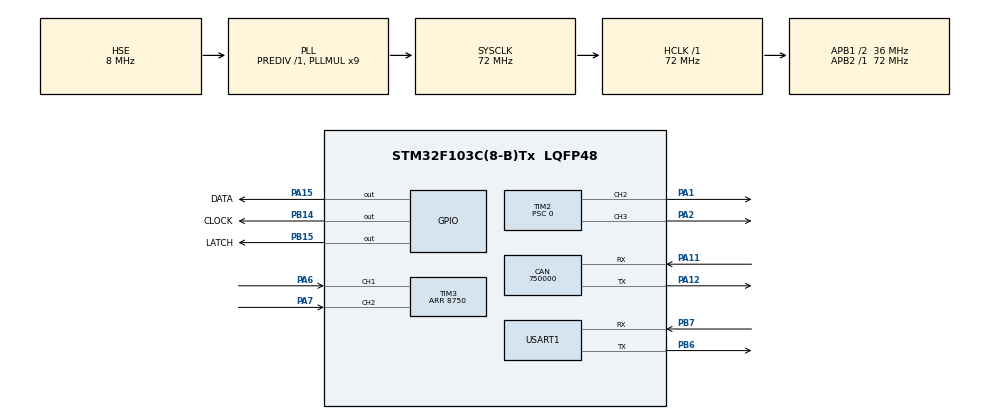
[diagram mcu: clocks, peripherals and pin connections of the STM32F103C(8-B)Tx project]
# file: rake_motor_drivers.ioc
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CAN.CalculateBaudRate=750000
CAN.CalculateTimeBit=1333.33
CAN.CalculateTimeQuantum=444.44444444444446
Mcu.Family=STM32F1
Mcu.Name=STM32F103C(8-B)Tx
Mcu.Package=LQFP48
NVIC.PriorityGroup=NVIC_PRIORITYGROUP_3
NVIC.TIM3_IRQn=true\:0\:0\:true\:false\:true\:true\:true
NVIC.USART1_IRQn=true\:0\:0\:true\:false\:true\:true\:true
PA1.Signal=S_TIM2_CH2
PA11.Mode=CAN_Activate
PA11.Signal=CAN_RX
PA12.Mode=CAN_Activate
PA12.Signal=CAN_TX
PA13.Mode=Serial_Wire
PA13.Signal=SYS_JTMS-SWDIO
PA14.Mode=Serial_Wire
PA14.Signal=SYS_JTCK-SWCLK
PA15.GPIO_Label=DATA
PA15.Signal=GPIO_Output
PA2.Signal=S_TIM2_CH3
PA6.Signal=S_TIM3_CH1
PA7.Signal=S_TIM3_CH2
PB14.GPIO_Label=CLOCK
PB14.Signal=GPIO_Output
PB15.GPIO_Label=LATCH
PB15.Signal=GPIO_Output
PB6.Mode=Asynchronous
PB6.Signal=USART1_TX
PB7.Mode=Asynchronous
PB7.Signal=USART1_RX
PD0-OSC_IN.Mode=HSE-External-Oscillator
PD0-OSC_IN.Signal=RCC_OSC_IN
PD1-OSC_OUT.Mode=HSE-External-Oscillator
PD1-OSC_OUT.Signal=RCC_OSC_OUT
ProjectManager.HeapSize=0x200
ProjectManager.StackSize=0x400
ProjectManager.TargetToolchain=MDK-ARM V5
RCC.AHBFreq_Value=72000000
RCC.APB1CLKDivider=RCC_HCLK_DIV2
RCC.APB1Freq_Value=36000000
RCC.APB1TimFreq_Value=72000000
RCC.APB2Freq_Value=72000000
RCC.APB2TimFreq_Value=72000000
RCC.HCLKFreq_Value=72000000
RCC.PLLMUL=RCC_PLL_MUL9
RCC.PLLSourceVirtual=RCC_PLLSOURCE_HSE
RCC.SYSCLKFreq_VALUE=72000000
RCC.SYSCLKSource=RCC_SYSCLKSOURCE_PLLCLK
RCC.USBFreq_Value=72000000
SH.S_TIM2_CH2.0=TIM2_CH2,PWM Generation2 CH2
SH.S_TIM2_CH3.0=TIM2_CH3,PWM Generation3 CH3
SH.S_TIM3_CH1.0=TIM3_CH1,Encoder_Interface
SH.S_TIM3_CH2.0=TIM3_CH2,Encoder_Interface
TIM2.Channel-PWM\ Generation2\ CH2=TIM_CHANNEL_2
TIM2.Channel-PWM\ Generation3\ CH3=TIM_CHANNEL_3
TIM2.Period=65535
TIM2.Prescaler=0
TIM3.AutoReloadPreload=TIM_AUTORELOAD_PRELOAD_ENABLE
TIM3.EncoderMode=TIM_ENCODERMODE_TI12
TIM3.IC1Filter=0
TIM3.IC1Prescaler=TIM_ICPSC_DIV1
TIM3.IC2Filter=0
TIM3.IC2Prescaler=TIM_ICPSC_DIV1
TIM3.Period=8750
USART1.VirtualMode=VM_ASYNC
board=custom

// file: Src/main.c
/* USER CODE BEGIN Header */
/**
  ******************************************************************************
  * @file           : main.c
  * @brief          : Main program body
  ******************************************************************************
  ** This notice applies to any and all portions of this file
  * that are not between comment pairs USER CODE BEGIN and
  * USER CODE END. Other portions of this file, whether
  * inserted by the user or by software development tools
  * are owned by their respective copyright owners.
  *
  * COPYRIGHT(c) 2020 STMicroelectronics
  *
  * Redistribution and use in source and binary forms, with or without modification,
  * are permitted provided that the following conditions are met:
  *   1. Redistributions of source code must retain the above copyright notice,
  *      this list of conditions and the following disclaimer.
  *   2. Redistributions in binary form must reproduce the above copyright notice,
  *      this list of conditions and the following disclaimer in the documentation
  *      and/or other materials provided with the distribution.
  *   3. Neither the name of STMicroelectronics nor the names of its contributors
  *      may be used to endorse or promote products derived from this software
  *      without specific prior written permission.
  *
  * THIS SOFTWARE IS PROVIDED BY THE COPYRIGHT HOLDERS AND CONTRIBUTORS "AS IS"
  * AND ANY EXPRESS OR IMPLIED WARRANTIES, INCLUDING, BUT NOT LIMITED TO, THE
  * IMPLIED WARRANTIES OF MERCHANTABILITY AND FITNESS FOR A PARTICULAR PURPOSE ARE
  * DISCLAIMED. IN NO EVENT SHALL THE COPYRIGHT HOLDER OR CONTRIBUTORS BE LIABLE
  * FOR ANY DIRECT, INDIRECT, INCIDENTAL, SPECIAL, EXEMPLARY, OR CONSEQUENTIAL
  * DAMAGES (INCLUDING, BUT NOT LIMITED TO, PROCUREMENT OF SUBSTITUTE GOODS OR
  * SERVICES; LOSS OF USE, DATA, OR PROFITS; OR BUSINESS INTERRUPTION) HOWEVER
  * CAUSED AND ON ANY THEORY OF LIABILITY, WHETHER IN CONTRACT, STRICT LIABILITY,
  * OR TORT (INCLUDING NEGLIGENCE OR OTHERWISE) ARISING IN ANY WAY OUT OF THE USE
  * OF THIS SOFTWARE, EVEN IF ADVISED OF THE POSSIBILITY OF SUCH DAMAGE.
  *
  ******************************************************************************
  */
/* USER CODE END Header */
#include "main.h"

/* USER CODE BEGIN Includes */

//RAKE kütüphaneleri main.c içinde kullanilmak amaciyla main.c içine dahil edildi .
#include "rake_stm32_encoder_lib.h"
#include "rake_stm32_uart_lib.h"
#include "rake_stm32_pid_lib.h"
#include "rake_stm32_motor_lib.h"
#include "rake_stm32_timer_lib.h"
#include "rake_stm32_extra_lib.h"

/* USER CODE END Includes */

CAN_HandleTypeDef hcan;

TIM_HandleTypeDef htim2;
TIM_HandleTypeDef htim3;

UART_HandleTypeDef huart1;

/* USER CODE BEGIN PV */

uint16_t count=0;
uint32_t hiz = 0;
uint32_t encoder_counter = 0;
uint8_t isMoved = 0;

/*
	Pin tanimlamalari main.c ye extern edildi .
	Pinler sonradan degistirilmedigi icin const olarak tanimlandi .
*/
extern const uint32_t motorBackward_Pin;
extern const uint32_t motorForward_Pin;
extern const uint32_t encoderA_Pin;
extern const uint32_t encoderB_Pin;

CAN_HandleTypeDef hcan;

TIM_HandleTypeDef htim2;
TIM_HandleTypeDef htim3;

UART_HandleTypeDef huart1;

// Typedef strcut tipindeki degerlerden degisken olusturuldu .
ENCODER_HandleTypeDef rencoder1;
RAKE_UART_HandleTypeDef ruart1;
PID_HandleTypeDef rpid1;
MOTOR_HandleTypeDef rmotor1;
TIMER_HandleTypeDef rtimer1;
FLAG_HandleTypeDef rflag1;

/* USER CODE END PV */

void SystemClock_Config(void);
static void MX_GPIO_Init(void);
static void MX_TIM2_Init(void);
static void MX_TIM3_Init(void);
static void MX_CAN_Init(void);
static void MX_USART1_UART_Init(void);
/* USER CODE BEGIN PFP */

/*
	Prototip fonksiyon tanimlamasi yapildi .
	Fonksiyonlarin içerikleri USER CODE BEGIN 4 kisminde bulunmaktadir .
*/
static void RAKE_INIT_Functions(void);                              //Structlara deger atama islemleri RAKE_INIT fonksiyonlari ile yapildi.
static void RAKE_START_It(RAKE_UART_HandleTypeDef *uart);           //Interrupt baslatma fonksiyonu tanimlandi.
void HAL_TIM_PeriodElapsedCallback(TIM_HandleTypeDef *htim); 				//Timer interruptlarinin dallandigi fonksiyon buraya eklendi.
void HAL_UART_RxCpltCallback(UART_HandleTypeDef *huart);     				//UART interruptlarinin dallandigi fonksiyon buraya eklendi.
//void HAL_TIM_IC_CaptureCallback(TIM_HandleTypeDef *htim);           //Timer input capture interrupt fonksyionu prototipi tanimlandi.

/* USER CODE END PFP */

int main(void)
{

  /* MCU Configuration--------------------------------------------------------*/

  /* Reset of all peripherals, Initializes the Flash interface and the Systick. */
  HAL_Init();

  /* Configure the system clock */
  SystemClock_Config();

  /* Initialize all configured peripherals */
  MX_GPIO_Init();
  MX_TIM2_Init();
  MX_TIM3_Init();
  MX_CAN_Init();
  MX_USART1_UART_Init();
  /* USER CODE BEGIN 2 */

	RAKE_INIT_Functions();       //Structlara deger atama yapan fonksiyon burada cagirildi .
	RAKE_START_It(&ruart1);      //Interruptlari baslatan fonksiyona burada cagirildi .

  /* USER CODE END 2 */

  /* Infinite loop */
  while (1)
  {

    /* USER CODE BEGIN 3 */
		//__HAL_TIM_SET_COMPARE(&htim2, TIM_CHANNEL_3, 100); //encoder deneme için eklendi!

		RAKE_Rx_Motor_Speed(&rmotor1, &rflag1, &ruart1);

			if(rmotor1.desired.RPM_f32 > 0){
				if(rmotor1.desired.direction){
					__HAL_TIM_SET_COMPARE(&htim2, TIM_CHANNEL_3, 40000);
					__HAL_TIM_SET_COMPARE(&htim2, TIM_CHANNEL_2, 0);
					isMoved = 1;
				}
				else if(!rmotor1.desired.direction){
					__HAL_TIM_SET_COMPARE(&htim2, TIM_CHANNEL_2, 40000);
					__HAL_TIM_SET_COMPARE(&htim2, TIM_CHANNEL_3, 0);
					isMoved = 1;
				}
			}

		//__HAL_TIM_SET_COMPARE(&htim2, TIM_CHANNEL_3, rmotor1.desired.RPM_f32*65);
		//RAKE_Measure_Speed(&rtimer1, &rflag1, &rencoder1);

		//RAKE_Pid_Calculation(&rtimer1, &rencoder1, &rmotor1, &rflag1, &ruart1, &rpid1);

		//if(rmotor1.desired.RPM_f32 < 1) {
		//	__HAL_TIM_SET_COMPARE(&htim3, motorBackward_Pin, 0);
		//	__HAL_TIM_SET_COMPARE(&htim3, motorForward_Pin, 0);
		//}
		//else {
		//RAKE_Pid_Calculation(&rtimer1, &rencoder1, &rmotor1, &rflag1, &ruart1, &rpid1);
		//}

		//RAKE_Tx_Motor_Speed(&rtimer1, &rencoder1, &ruart1);
		//RAKE_Drive_Led();--------> !!!! Bu fonksiyon burada çagirildiginda .o dosyalarinda multiply defined hatasi veriyor .

  }
  /* USER CODE END 3 */
}

void SystemClock_Config(void)
{
  RCC_OscInitTypeDef RCC_OscInitStruct = {0};
  RCC_ClkInitTypeDef RCC_ClkInitStruct = {0};

  /** Initializes the RCC Oscillators according to the specified parameters
  * in the RCC_OscInitTypeDef structure.
  */
  RCC_OscInitStruct.OscillatorType = RCC_OSCILLATORTYPE_HSE;
  RCC_OscInitStruct.HSEState = RCC_HSE_ON;
  RCC_OscInitStruct.HSEPredivValue = RCC_HSE_PREDIV_DIV1;
  RCC_OscInitStruct.HSIState = RCC_HSI_ON;
  RCC_OscInitStruct.PLL.PLLState = RCC_PLL_ON;
  RCC_OscInitStruct.PLL.PLLSource = RCC_PLLSOURCE_HSE;
  RCC_OscInitStruct.PLL.PLLMUL = RCC_PLL_MUL9;
  if (HAL_RCC_OscConfig(&RCC_OscInitStruct) != HAL_OK)
  {
    Error_Handler();
  }
  /** Initializes the CPU, AHB and APB buses clocks
  */
  RCC_ClkInitStruct.ClockType = RCC_CLOCKTYPE_HCLK|RCC_CLOCKTYPE_SYSCLK
                              |RCC_CLOCKTYPE_PCLK1|RCC_CLOCKTYPE_PCLK2;
  RCC_ClkInitStruct.SYSCLKSource = RCC_SYSCLKSOURCE_PLLCLK;
  RCC_ClkInitStruct.AHBCLKDivider = RCC_SYSCLK_DIV1;
  RCC_ClkInitStruct.APB1CLKDivider = RCC_HCLK_DIV2;
  RCC_ClkInitStruct.APB2CLKDivider = RCC_HCLK_DIV1;

  if (HAL_RCC_ClockConfig(&RCC_ClkInitStruct, FLASH_LATENCY_2) != HAL_OK)
  {
    Error_Handler();
  }
}

static void MX_CAN_Init(void)
{

  hcan.Instance = CAN1;
  hcan.Init.Prescaler = 16;
  hcan.Init.Mode = CAN_MODE_NORMAL;
  hcan.Init.SyncJumpWidth = CAN_SJW_1TQ;
  hcan.Init.TimeSeg1 = CAN_BS1_1TQ;
  hcan.Init.TimeSeg2 = CAN_BS2_1TQ;
  hcan.Init.TimeTriggeredMode = DISABLE;
  hcan.Init.AutoBusOff = DISABLE;
  hcan.Init.AutoWakeUp = DISABLE;
  hcan.Init.AutoRetransmission = DISABLE;
  hcan.Init.ReceiveFifoLocked = DISABLE;
  hcan.Init.TransmitFifoPriority = DISABLE;
  if (HAL_CAN_Init(&hcan) != HAL_OK)
  {
    Error_Handler();
  }

}

static void MX_TIM2_Init(void)
{

  TIM_MasterConfigTypeDef sMasterConfig = {0};
  TIM_OC_InitTypeDef sConfigOC = {0};

  htim2.Instance = TIM2;
  htim2.Init.Prescaler = 0;
  htim2.Init.CounterMode = TIM_COUNTERMODE_UP;
  htim2.Init.Period = 65535;
  htim2.Init.ClockDivision = TIM_CLOCKDIVISION_DIV1;
  htim2.Init.AutoReloadPreload = TIM_AUTORELOAD_PRELOAD_DISABLE;
  if (HAL_TIM_PWM_Init(&htim2) != HAL_OK)
  {
    Error_Handler();
  }
  sMasterConfig.MasterOutputTrigger = TIM_TRGO_RESET;
  sMasterConfig.MasterSlaveMode = TIM_MASTERSLAVEMODE_DISABLE;
  if (HAL_TIMEx_MasterConfigSynchronization(&htim2, &sMasterConfig) != HAL_OK)
  {
    Error_Handler();
  }
  sConfigOC.OCMode = TIM_OCMODE_PWM1;
  sConfigOC.Pulse = 0;
  sConfigOC.OCPolarity = TIM_OCPOLARITY_HIGH;
  sConfigOC.OCFastMode = TIM_OCFAST_DISABLE;
  if (HAL_TIM_PWM_ConfigChannel(&htim2, &sConfigOC, TIM_CHANNEL_2) != HAL_OK)
  {
    Error_Handler();
  }
  if (HAL_TIM_PWM_ConfigChannel(&htim2, &sConfigOC, TIM_CHANNEL_3) != HAL_OK)
  {
    Error_Handler();
  }
  HAL_TIM_MspPostInit(&htim2);

}

static void MX_TIM3_Init(void)
{

  TIM_Encoder_InitTypeDef sConfig = {0};
  TIM_MasterConfigTypeDef sMasterConfig = {0};

  htim3.Instance = TIM3;
  htim3.Init.Prescaler = 0;
  htim3.Init.CounterMode = TIM_COUNTERMODE_UP;
  htim3.Init.Period = 8750;
  htim3.Init.ClockDivision = TIM_CLOCKDIVISION_DIV1;
  htim3.Init.AutoReloadPreload = TIM_AUTORELOAD_PRELOAD_ENABLE;
  sConfig.EncoderMode = TIM_ENCODERMODE_TI12;
  sConfig.IC1Polarity = TIM_ICPOLARITY_RISING;
  sConfig.IC1Selection = TIM_ICSELECTION_DIRECTTI;
  sConfig.IC1Prescaler = TIM_ICPSC_DIV1;
  sConfig.IC1Filter = 0;
  sConfig.IC2Polarity = TIM_ICPOLARITY_RISING;
  sConfig.IC2Selection = TIM_ICSELECTION_DIRECTTI;
  sConfig.IC2Prescaler = TIM_ICPSC_DIV1;
  sConfig.IC2Filter = 0;
  if (HAL_TIM_Encoder_Init(&htim3, &sConfig) != HAL_OK)
  {
    Error_Handler();
  }
  sMasterConfig.MasterOutputTrigger = TIM_TRGO_RESET;
  sMasterConfig.MasterSlaveMode = TIM_MASTERSLAVEMODE_DISABLE;
  if (HAL_TIMEx_MasterConfigSynchronization(&htim3, &sMasterConfig) != HAL_OK)
  {
    Error_Handler();
  }

}

static void MX_USART1_UART_Init(void)
{

  huart1.Instance = USART1;
  huart1.Init.BaudRate = 115200;
  huart1.Init.WordLength = UART_WORDLENGTH_8B;
  huart1.Init.StopBits = UART_STOPBITS_1;
  huart1.Init.Parity = UART_PARITY_NONE;
  huart1.Init.Mode = UART_MODE_TX_RX;
  huart1.Init.HwFlowCtl = UART_HWCONTROL_NONE;
  huart1.Init.OverSampling = UART_OVERSAMPLING_16;
  if (HAL_UART_Init(&huart1) != HAL_OK)
  {
    Error_Handler();
  }

}

static void MX_GPIO_Init(void)
{
  GPIO_InitTypeDef GPIO_InitStruct = {0};

  /* GPIO Ports Clock Enable */
  __HAL_RCC_GPIOD_CLK_ENABLE();
  __HAL_RCC_GPIOA_CLK_ENABLE();
  __HAL_RCC_GPIOB_CLK_ENABLE();

  /*Configure GPIO pin Output Level */
  HAL_GPIO_WritePin(GPIOB, CLOCK_Pin|LATCH_Pin, GPIO_PIN_RESET);

  /*Configure GPIO pin Output Level */
  HAL_GPIO_WritePin(DATA_GPIO_Port, DATA_Pin, GPIO_PIN_RESET);

  /*Configure GPIO pins : CLOCK_Pin LATCH_Pin */
  GPIO_InitStruct.Pin = CLOCK_Pin|LATCH_Pin;
  GPIO_InitStruct.Mode = GPIO_MODE_OUTPUT_PP;
  GPIO_InitStruct.Pull = GPIO_NOPULL;
  GPIO_InitStruct.Speed = GPIO_SPEED_FREQ_LOW;
  HAL_GPIO_Init(GPIOB, &GPIO_InitStruct);

  /*Configure GPIO pin : DATA_Pin */
  GPIO_InitStruct.Pin = DATA_Pin;
  GPIO_InitStruct.Mode = GPIO_MODE_OUTPUT_PP;
  GPIO_InitStruct.Pull = GPIO_NOPULL;
  GPIO_InitStruct.Speed = GPIO_SPEED_FREQ_LOW;
  HAL_GPIO_Init(DATA_GPIO_Port, &GPIO_InitStruct);

}

/* USER CODE BEGIN 4 */

/*
	Interruptlari baslatan fonksiyon içerigi burada yazildi .
	Baska bir dosyada kullanilmayacagi icin static olarak tanimlandi .
*/
static void RAKE_START_It(RAKE_UART_HandleTypeDef *uart) {

	//HAL_TIM_Base_Start_IT(&htim2);

  HAL_TIM_PWM_Start(&htim2, TIM_CHANNEL_2);
	HAL_TIM_PWM_Start(&htim2, TIM_CHANNEL_3);

	HAL_TIM_Encoder_Start(&htim3, TIM_CHANNEL_ALL);
	HAL_TIM_Base_Start_IT(&htim3);

	HAL_UART_Receive_IT(&huart1, uart->rxData, 1);
}

/*
	Structlara deger atama islemi yapan fonksiyon icerigi burada yazildi .
	Baska bir dosyada kullanilmayacagi icin static olarak tanimlandi .
*/
static void RAKE_INIT_Functions(void) {
	RAKE_ENCODER_Init();
	RAKE_MOTOR_Init();
	RAKE_PID_Init();
	RAKE_UART_Init();
	RAKE_FLAG_Init();
	RAKE_TIMER_Init();
	RAKE_START_It(&ruart1);
}

/*
	Timer interruptlarinin dallandigi fonksiyon burada tanimlandi .
	Interrupt oldugunda degerlerimizin arttirilmasi saglandi .
*/
void HAL_TIM_PeriodElapsedCallback(TIM_HandleTypeDef *htim) {
		if (htim == &htim3){
			count=count+1;
			if(count > 1120 * (rmotor1.desired.RPM_f32 / 360)){
				__HAL_TIM_SET_COMPARE(&htim2, TIM_CHANNEL_3, 0);
				__HAL_TIM_SET_COMPARE(&htim2, TIM_CHANNEL_2, 0);

			}
  }

}

/*
	TIM3 de encoder verisi input capture sayesinde aliniyor.
	Interrupt oldugu için fonksiyon her pulse buraya dallaniyor.
*/
/*
void HAL_TIM_IC_CaptureCallback(TIM_HandleTypeDef *htim) {
	if (htim->Instance == TIM3) {
		encoder_counter++;
	}
}
*/

/*
	Uart intterruptlarinin dallandigi fonksiyon burada tanimlandi .
	Dogru index degerlerin gelmesi durumunda veri almasi saglandi .
*/
void HAL_UART_RxCpltCallback(UART_HandleTypeDef *huart) {
	if(huart->Instance == USART1){
		rflag1.LED.UART_bit = 1;
		//----------------------------------------
		//Reset RX Buffer Code
		//----------------------------------------
		if(rflag1.UART.rxIndex_bool == 0) {
			for(uint8_t index; index < 30; index++) {
				ruart1.rxBuffer[index] = 0;
			}
		}

		if(ruart1.rxData[0] == 'S') {
			rflag1.UART.rxIndex_bool = 0;
		}
		//----------------------------------------
		//Write Data to Buffer Code
		//----------------------------------------
		if(ruart1.rxData[0] != 'F'){
			ruart1.rxBuffer[rflag1.UART.rxIndex_bool++] = ruart1.rxData[0];
		} else {
			rflag1.UART.rxIndex_bool = 0;
			rflag1.UART.rxComplete_bool = 1;
		}
		//----------------------------------------
		HAL_UART_Receive_IT(&huart1, ruart1.rxData, 1);
		//----------------------------------------
	} else {
		rflag1.LED.UART_bit = 0;
	}
}

/* USER CODE END 4 */

void Error_Handler(void)
{
}

/************************ (C) COPYRIGHT STMicroelectronics *****END OF FILE****/
